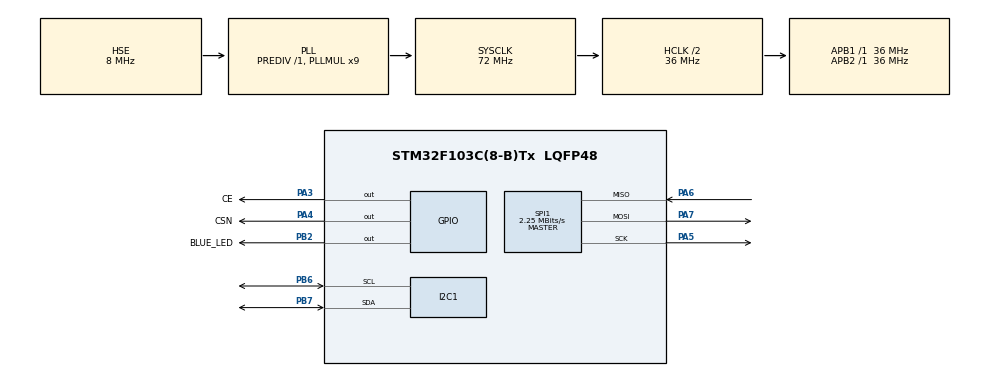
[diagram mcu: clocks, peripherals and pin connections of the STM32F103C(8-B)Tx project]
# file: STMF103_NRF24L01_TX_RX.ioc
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Mcu.Family=STM32F1
Mcu.Name=STM32F103C(8-B)Tx
Mcu.Package=LQFP48
NVIC.PriorityGroup=NVIC_PRIORITYGROUP_4
NVIC.TIM4_IRQn=true\:0\:0\:false\:false\:true\:true\:true\:true
PA0-WKUP.Mode=SYS_WakeUp0
PA0-WKUP.Signal=SYS_WKUP
PA13.Mode=Serial_Wire
PA13.Signal=SYS_JTMS-SWDIO
PA14.Mode=Serial_Wire
PA14.Signal=SYS_JTCK-SWCLK
PA3.GPIO_Label=CE
PA3.Signal=GPIO_Output
PA4.GPIO_Label=CSN
PA4.Signal=GPIO_Output
PA5.Mode=Full_Duplex_Master
PA5.Signal=SPI1_SCK
PA6.Mode=Full_Duplex_Master
PA6.Signal=SPI1_MISO
PA7.Mode=Full_Duplex_Master
PA7.Signal=SPI1_MOSI
PB2.GPIO_Label=BLUE_LED
PB2.Signal=GPIO_Output
PB6.Mode=I2C
PB6.Signal=I2C1_SCL
PB7.Mode=I2C
PB7.Signal=I2C1_SDA
PC14-OSC32_IN.Mode=LSE-External-Oscillator
PC14-OSC32_IN.Signal=RCC_OSC32_IN
PC15-OSC32_OUT.Mode=LSE-External-Oscillator
PC15-OSC32_OUT.Signal=RCC_OSC32_OUT
PD0-OSC_IN.Mode=HSE-External-Oscillator
PD0-OSC_IN.Signal=RCC_OSC_IN
PD1-OSC_OUT.Mode=HSE-External-Oscillator
PD1-OSC_OUT.Signal=RCC_OSC_OUT
ProjectManager.HeapSize=0x200
ProjectManager.StackSize=0x400
ProjectManager.TargetToolchain=STM32CubeIDE
RCC.AHBCLKDivider=RCC_SYSCLK_DIV2
RCC.AHBFreq_Value=36000000
RCC.APB1Freq_Value=36000000
RCC.APB1TimFreq_Value=36000000
RCC.APB2Freq_Value=36000000
RCC.APB2TimFreq_Value=36000000
RCC.HCLKFreq_Value=36000000
RCC.PLLMUL=RCC_PLL_MUL9
RCC.PLLSourceVirtual=RCC_PLLSOURCE_HSE
RCC.RTCClockSelection=RCC_RTCCLKSOURCE_LSE
RCC.SYSCLKFreq_VALUE=72000000
RCC.SYSCLKSource=RCC_SYSCLKSOURCE_PLLCLK
RCC.USBFreq_Value=72000000
SPI1.BaudRatePrescaler=SPI_BAUDRATEPRESCALER_16
SPI1.CalculateBaudRate=2.25 MBits/s
SPI1.Direction=SPI_DIRECTION_2LINES
SPI1.Mode=SPI_MODE_MASTER
SPI1.VirtualType=VM_MASTER
VP_RTC_VS_RTC_Activate.Mode=RTC_Enabled
VP_RTC_VS_RTC_Calendar.Mode=RTC_Calendar
VP_TIM4_VS_ClockSourceINT.Mode=Internal
board=custom

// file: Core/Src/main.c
/* USER CODE BEGIN Header */
/**
  ******************************************************************************
  * @file           : main.c
  * @brief          : Main program body
  ******************************************************************************
  * @attention
  *
  * Copyright (c) 2026 STMicroelectronics.
  * All rights reserved.
  *
  * This software is licensed under terms that can be found in the LICENSE file
  * in the root directory of this software component.
  * If no LICENSE file comes with this software, it is provided AS-IS.
  *
  ******************************************************************************
  */
/* USER CODE END Header */
#include "main.h"

/* USER CODE BEGIN Includes */
#include <string.h>
#include <stdio.h>
#include <stdbool.h>
#include <stdint.h>
#include <stdlib.h>
#include <math.h>
#include <time.h>
#include <ctype.h>
#include <limits.h>
#include <stddef.h>
#include <ctype.h>
#include "nrf24l01.h"
#include "ssd1306.h"
/* USER CODE END Includes */

/* USER CODE BEGIN PD */
#define TRUE 1
#define FALSE 0
#define ON 1
#define OFF 0
#define PRESSED 0
#define RELEASED 1
#define VREF 3.3f
#define ADC_RESOLUTION 4096.0f
#define LED_TOGGLE HAL_GPIO_TogglePin(BLUE_LED_GPIO_Port, BLUE_LED_Pin)
#define LED_ON HAL_GPIO_WritePin(BLUE_LED_GPIO_Port, BLUE_LED_Pin, GPIO_PIN_SET)
#define LED_OFF HAL_GPIO_WritePin(BLUE_LED_GPIO_Port, BLUE_LED_Pin, GPIO_PIN_RESET)
#define DELAY_100MS HAL_Delay(100)
#define DELAY_500MS HAL_Delay(500)
#define DELAY_1S HAL_Delay(1000)
#define PCA9548A_ADDR_7BIT  0x70
#define PCA9548A_ADDR       (PCA9548A_ADDR_7BIT << 1)
#define OLED1_CH 1
#define OLED2_CH 2
#define NRF_PAYLOAD_SIZE 32
#define MAX_TOKENS_RX    32          // raise if you need more
#define TOKEN_STR_MAX    30          // fits in payload (29 + null)

/* USER CODE END PD */

/* USER CODE BEGIN PM */

extern SPI_HandleTypeDef hspi1;

NRF24_t nrf;
static const uint8_t nrf_addr[5] = { 'N','R','F','0','1' };
static const uint8_t nrf_channel = 76;
static char     rx_tokens[MAX_TOKENS_RX][TOKEN_STR_MAX];
static uint8_t  rx_got[MAX_TOKENS_RX];     // 0/1 flags
//static uint8_t  rx_total = 0;
//static uint16_t rx_count = 0;
static uint8_t  rx_total = 0;
static uint8_t  rx_frame = 0;
static uint16_t rx_count = 0;

/* USER CODE END PM */

I2C_HandleTypeDef hi2c1;

RTC_HandleTypeDef hrtc;

SPI_HandleTypeDef hspi1;

TIM_HandleTypeDef htim4;

void SystemClock_Config(void);
static void MX_GPIO_Init(void);
static void MX_I2C1_Init(void);
static void MX_RTC_Init(void);
static void MX_SPI1_Init(void);
static void MX_TIM4_Init(void);
/* USER CODE BEGIN PFP */
static void PCA9548A_Select(uint8_t ch);
static void RX_ResetFrame(uint8_t total, uint8_t frame);
static void OLED_ShowTokenRange(uint8_t pca_ch, uint8_t start, uint8_t end);
static void OLED_UpdateTwoScreens(void);
static void RX_HandlePacket(uint8_t *rxbuf);

/* USER CODE END PFP */

int main(void)
{

  /* MCU Configuration--------------------------------------------------------*/

  /* Reset of all peripherals, Initializes the Flash interface and the Systick. */
  HAL_Init();

  /* Configure the system clock */
  SystemClock_Config();

  /* USER CODE BEGIN SysInit */

  uint8_t rxbuf[NRF_PAYLOAD_SIZE];

  /* USER CODE END SysInit */

  /* Initialize all configured peripherals */
  MX_GPIO_Init();
  MX_I2C1_Init();
  MX_RTC_Init();
  MX_SPI1_Init();
  MX_TIM4_Init();
  /* USER CODE BEGIN 2 */

  NRF24_Begin(&nrf, &hspi1, CE_GPIO_Port, CE_Pin, CSN_GPIO_Port, CSN_Pin);
  NRF24_InitRX(&nrf, nrf_addr, nrf_channel);
  RX_ResetFrame(0,0); // or just rx_total=0

  // Init OLED #1
  PCA9548A_Select(OLED1_CH);
  SSD1306_Init();
  SSD1306_Fill(SSD1306_COLOR_BLACK);
  SSD1306_SetCursor(0, 0);
  SSD1306_WriteString("Waiting for", SSD1306_COLOR_WHITE);
  SSD1306_UpdateScreen();   // <-- add this

  HAL_GPIO_WritePin(BLUE_LED_GPIO_Port, BLUE_LED_Pin, GPIO_PIN_SET); // turn on to show init done

  PCA9548A_Select(OLED2_CH);
  SSD1306_Init();
  SSD1306_SetCursor(0, 0);
  SSD1306_Fill(SSD1306_COLOR_BLACK);
  SSD1306_WriteString("Hello from", SSD1306_COLOR_WHITE);
  SSD1306_UpdateScreen();

  /* USER CODE END 2 */

  /* Infinite loop */
  /* USER CODE BEGIN WHILE */
  while (1)
  {
	  if (NRF24_Available(&nrf))
	  {
	      NRF24_Read(&nrf, rxbuf, NRF_PAYLOAD_SIZE);
	      RX_HandlePacket(rxbuf);
	      // Or reconstruct your sentence / update display.
	  }

    /* USER CODE END WHILE */

  }
}

void SystemClock_Config(void)
{
  RCC_OscInitTypeDef RCC_OscInitStruct = {0};
  RCC_ClkInitTypeDef RCC_ClkInitStruct = {0};
  RCC_PeriphCLKInitTypeDef PeriphClkInit = {0};

  /** Initializes the RCC Oscillators according to the specified parameters
  * in the RCC_OscInitTypeDef structure.
  */
  RCC_OscInitStruct.OscillatorType = RCC_OSCILLATORTYPE_HSE|RCC_OSCILLATORTYPE_LSE;
  RCC_OscInitStruct.HSEState = RCC_HSE_ON;
  RCC_OscInitStruct.HSEPredivValue = RCC_HSE_PREDIV_DIV1;
  RCC_OscInitStruct.LSEState = RCC_LSE_ON;
  RCC_OscInitStruct.HSIState = RCC_HSI_ON;
  RCC_OscInitStruct.PLL.PLLState = RCC_PLL_ON;
  RCC_OscInitStruct.PLL.PLLSource = RCC_PLLSOURCE_HSE;
  RCC_OscInitStruct.PLL.PLLMUL = RCC_PLL_MUL9;
  if (HAL_RCC_OscConfig(&RCC_OscInitStruct) != HAL_OK)
  {
    Error_Handler();
  }

  /** Initializes the CPU, AHB and APB buses clocks
  */
  RCC_ClkInitStruct.ClockType = RCC_CLOCKTYPE_HCLK|RCC_CLOCKTYPE_SYSCLK
                              |RCC_CLOCKTYPE_PCLK1|RCC_CLOCKTYPE_PCLK2;
  RCC_ClkInitStruct.SYSCLKSource = RCC_SYSCLKSOURCE_PLLCLK;
  RCC_ClkInitStruct.AHBCLKDivider = RCC_SYSCLK_DIV2;
  RCC_ClkInitStruct.APB1CLKDivider = RCC_HCLK_DIV1;
  RCC_ClkInitStruct.APB2CLKDivider = RCC_HCLK_DIV1;

  if (HAL_RCC_ClockConfig(&RCC_ClkInitStruct, FLASH_LATENCY_2) != HAL_OK)
  {
    Error_Handler();
  }
  PeriphClkInit.PeriphClockSelection = RCC_PERIPHCLK_RTC;
  PeriphClkInit.RTCClockSelection = RCC_RTCCLKSOURCE_LSE;
  if (HAL_RCCEx_PeriphCLKConfig(&PeriphClkInit) != HAL_OK)
  {
    Error_Handler();
  }
}

static void MX_I2C1_Init(void)
{

  hi2c1.Instance = I2C1;
  hi2c1.Init.ClockSpeed = 100000;
  hi2c1.Init.DutyCycle = I2C_DUTYCYCLE_2;
  hi2c1.Init.OwnAddress1 = 0;
  hi2c1.Init.AddressingMode = I2C_ADDRESSINGMODE_7BIT;
  hi2c1.Init.DualAddressMode = I2C_DUALADDRESS_DISABLE;
  hi2c1.Init.OwnAddress2 = 0;
  hi2c1.Init.GeneralCallMode = I2C_GENERALCALL_DISABLE;
  hi2c1.Init.NoStretchMode = I2C_NOSTRETCH_DISABLE;
  if (HAL_I2C_Init(&hi2c1) != HAL_OK)
  {
    Error_Handler();
  }

}

static void MX_RTC_Init(void)
{

  RTC_TimeTypeDef sTime = {0};
  RTC_DateTypeDef DateToUpdate = {0};

  /** Initialize RTC Only
  */
  hrtc.Instance = RTC;
  hrtc.Init.AsynchPrediv = RTC_AUTO_1_SECOND;
  hrtc.Init.OutPut = RTC_OUTPUTSOURCE_ALARM;
  if (HAL_RTC_Init(&hrtc) != HAL_OK)
  {
    Error_Handler();
  }

  /** Initialize RTC and set the Time and Date
  */
  sTime.Hours = 0x0;
  sTime.Minutes = 0x0;
  sTime.Seconds = 0x0;

  if (HAL_RTC_SetTime(&hrtc, &sTime, RTC_FORMAT_BCD) != HAL_OK)
  {
    Error_Handler();
  }
  DateToUpdate.WeekDay = RTC_WEEKDAY_MONDAY;
  DateToUpdate.Month = RTC_MONTH_JANUARY;
  DateToUpdate.Date = 0x1;
  DateToUpdate.Year = 0x0;

  if (HAL_RTC_SetDate(&hrtc, &DateToUpdate, RTC_FORMAT_BCD) != HAL_OK)
  {
    Error_Handler();
  }

}

static void MX_SPI1_Init(void)
{

  /* SPI1 parameter configuration*/
  hspi1.Instance = SPI1;
  hspi1.Init.Mode = SPI_MODE_MASTER;
  hspi1.Init.Direction = SPI_DIRECTION_2LINES;
  hspi1.Init.DataSize = SPI_DATASIZE_8BIT;
  hspi1.Init.CLKPolarity = SPI_POLARITY_LOW;
  hspi1.Init.CLKPhase = SPI_PHASE_1EDGE;
  hspi1.Init.NSS = SPI_NSS_SOFT;
  hspi1.Init.BaudRatePrescaler = SPI_BAUDRATEPRESCALER_16;
  hspi1.Init.FirstBit = SPI_FIRSTBIT_MSB;
  hspi1.Init.TIMode = SPI_TIMODE_DISABLE;
  hspi1.Init.CRCCalculation = SPI_CRCCALCULATION_DISABLE;
  hspi1.Init.CRCPolynomial = 10;
  if (HAL_SPI_Init(&hspi1) != HAL_OK)
  {
    Error_Handler();
  }

}

static void MX_TIM4_Init(void)
{

  TIM_ClockConfigTypeDef sClockSourceConfig = {0};
  TIM_MasterConfigTypeDef sMasterConfig = {0};

  htim4.Instance = TIM4;
  htim4.Init.Prescaler = 0;
  htim4.Init.CounterMode = TIM_COUNTERMODE_UP;
  htim4.Init.Period = 65535;
  htim4.Init.ClockDivision = TIM_CLOCKDIVISION_DIV1;
  htim4.Init.AutoReloadPreload = TIM_AUTORELOAD_PRELOAD_DISABLE;
  if (HAL_TIM_Base_Init(&htim4) != HAL_OK)
  {
    Error_Handler();
  }
  sClockSourceConfig.ClockSource = TIM_CLOCKSOURCE_INTERNAL;
  if (HAL_TIM_ConfigClockSource(&htim4, &sClockSourceConfig) != HAL_OK)
  {
    Error_Handler();
  }
  sMasterConfig.MasterOutputTrigger = TIM_TRGO_RESET;
  sMasterConfig.MasterSlaveMode = TIM_MASTERSLAVEMODE_DISABLE;
  if (HAL_TIMEx_MasterConfigSynchronization(&htim4, &sMasterConfig) != HAL_OK)
  {
    Error_Handler();
  }

}

static void MX_GPIO_Init(void)
{
  GPIO_InitTypeDef GPIO_InitStruct = {0};

  /* GPIO Ports Clock Enable */
  __HAL_RCC_GPIOC_CLK_ENABLE();
  __HAL_RCC_GPIOD_CLK_ENABLE();
  __HAL_RCC_GPIOA_CLK_ENABLE();
  __HAL_RCC_GPIOB_CLK_ENABLE();

  /*Configure GPIO pin Output Level */
  HAL_GPIO_WritePin(GPIOA, CE_Pin|CSN_Pin, GPIO_PIN_RESET);

  /*Configure GPIO pin Output Level */
  HAL_GPIO_WritePin(BLUE_LED_GPIO_Port, BLUE_LED_Pin, GPIO_PIN_RESET);

  /*Configure GPIO pins : CE_Pin CSN_Pin */
  GPIO_InitStruct.Pin = CE_Pin|CSN_Pin;
  GPIO_InitStruct.Mode = GPIO_MODE_OUTPUT_PP;
  GPIO_InitStruct.Pull = GPIO_NOPULL;
  GPIO_InitStruct.Speed = GPIO_SPEED_FREQ_LOW;
  HAL_GPIO_Init(GPIOA, &GPIO_InitStruct);

  /*Configure GPIO pin : BLUE_LED_Pin */
  GPIO_InitStruct.Pin = BLUE_LED_Pin;
  GPIO_InitStruct.Mode = GPIO_MODE_OUTPUT_PP;
  GPIO_InitStruct.Pull = GPIO_NOPULL;
  GPIO_InitStruct.Speed = GPIO_SPEED_FREQ_LOW;
  HAL_GPIO_Init(BLUE_LED_GPIO_Port, &GPIO_InitStruct);

}

/* USER CODE BEGIN 4 */

static void PCA9548A_Select(uint8_t ch)
{
    if (ch > 7) return;
    uint8_t data = (1U << ch);
    HAL_I2C_Master_Transmit(&hi2c1, PCA9548A_ADDR, &data, 1, 50);
}

static void RX_ResetFrame(uint8_t total, uint8_t frame)
{
    rx_total = total;
    rx_frame = frame;
    rx_count = 0;

    for (uint8_t i = 0; i < MAX_TOKENS_RX; i++)
    {
        rx_got[i] = 0;
        rx_tokens[i][0] = '\0';
    }
}

static void OLED_ShowTokenRange(uint8_t pca_ch, uint8_t start, uint8_t end)
{
    PCA9548A_Select(pca_ch);

    SSD1306_Fill(SSD1306_COLOR_BLACK);

    uint8_t y = 0;
    for (uint8_t i = start; i < end; i++)
    {
        SSD1306_SetCursor(0, y);
        SSD1306_WriteString(rx_tokens[i], SSD1306_COLOR_WHITE);

        y += 8;
        if (y >= 64) break;
    }

    SSD1306_UpdateScreen();
}

static void RX_HandlePacket(uint8_t *rxbuf)
{
    uint8_t idx   = rxbuf[0];
    uint8_t total = rxbuf[1];
    uint8_t frame = rxbuf[2];
    char *text    = (char*)&rxbuf[3];   // <-- CHANGED (was rxbuf[2])

    if (total == 0 || total > MAX_TOKENS_RX) return;
    if (idx >= total) return;

    // New frame OR total changed => start fresh
    if ((rx_total != total) || (rx_frame != frame))
    {
        RX_ResetFrame(total, frame);
    }

    // Store token
    strncpy(rx_tokens[idx], text, TOKEN_STR_MAX - 1);
    rx_tokens[idx][TOKEN_STR_MAX - 1] = '\0';

    // Count only first time we receive this index
    if (!rx_got[idx])
    {
        rx_got[idx] = 1;
        rx_count++;
    }

    // Update OLED only when full set is received
    if (rx_count >= rx_total)
    {
        OLED_UpdateTwoScreens();
        // optional: do NOT reset here; wait for next frame_id to change
        // RX_ResetFrame(0, frame);
    }
}

static void OLED_UpdateTwoScreens(void)
{
    if (rx_total == 0) return;

    uint8_t mid = rx_total / 2;  // half on OLED1 half on OLED2

    OLED_ShowTokenRange(OLED1_CH, 0, mid);
    OLED_ShowTokenRange(OLED2_CH, mid, rx_total);
}

/* USER CODE END 4 */

void Error_Handler(void)
{
  __disable_irq();
  while (1)
  {
  }
}
